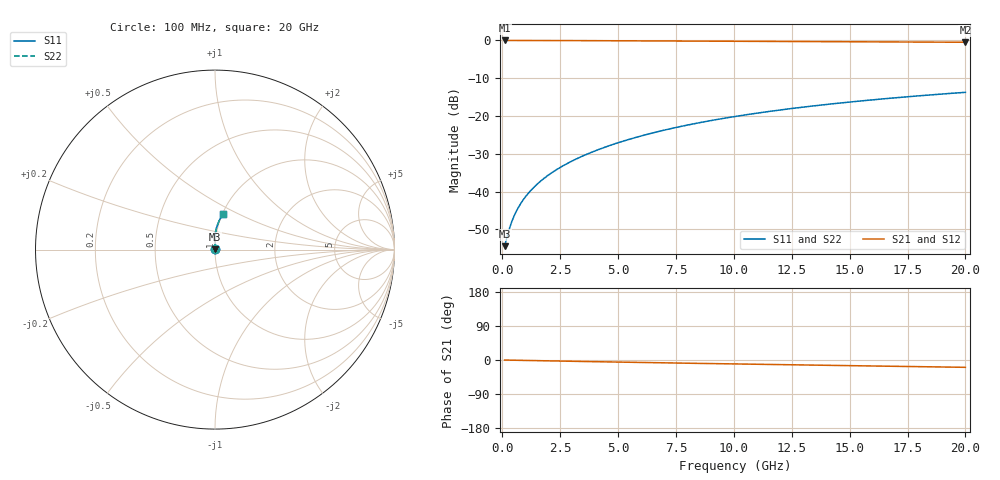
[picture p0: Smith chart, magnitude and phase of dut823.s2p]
! Touchstone file exported from HFSS 2024.1.0
!  File:  C:/UserFiles/LocalFiles/RDL_TSV_Batchsim/temp_RDL_bottom_823_1779862847.aedt
!  Generated:  02:23:41 PM May 27, 2026
!  Design:  RDL_bottom
!  Project:  temp_RDL_bottom_823_1779862847
!  Setup:  Setup1
!  Solution:  Sweep
! Variables:
!  dtsv = 10.80580581um
!  hbump = 3um
!  htsv = 81.91um
!  ldown = 225.51um
!  lrdl = 100um
!  p = 40
!  p1 = 59.29um
!  rhole = 1um
!  t = 450um
!  tdown = 2.21um
!  trdl = 3.915915916um
!  wdown = 29.32um
!  wrdl = 20um
# GHz S MA R 50.000000
! Terminal data exported
! Port[1] = RDL1_T1
! Port[2] = RDL1_T2
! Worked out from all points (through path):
!   200 points, 100 MHz to 20 GHz, reference 50 ohm
!   highest |S21| = -0.01 dB at 100 MHz (marker M1); lowest = -0.5 dB at 20 GHz (marker M2)
!   group delay of S21, straight-line fit = 2.65 ps
!   lowest |S11| = -54.4 dB at 100 MHz (marker M3), VSWR 1.00, Z = 50.2 + j0.0911 ohm
!   |S11| at or under -10 dB: start of sweep to end of sweep
!   |S22| runs from -54.4 to -13.7 dB; largest |S21 - S12| = 3.8e-15
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0.1  0.001897 28.6  0.9983 -0.1  0.9983 -0.1  0.001897 28.6
! Gamma 0 0 0 0
! Port Impedance 50 0 50 0
0.3  0.003191 56.4  0.9982 -0.4  0.9982 -0.4  0.003191 56.4
0.4  0.003936 62.4  0.9981 -0.5  0.9981 -0.5  0.003936 62.4
0.5  0.004692 66.6  0.998 -0.6  0.998 -0.6  0.004692 66.6
0.6  0.00545 69.7  0.9979 -0.7  0.9979 -0.7  0.00545 69.7
0.8  0.006978 74.2  0.9977 -0.9  0.9977 -0.9  0.006978 74.2
1  0.008526 77.3  0.9974 -1.2  0.9974 -1.2  0.008526 77.3
1.2  0.0101 79.6  0.9972 -1.4  0.9972 -1.4  0.0101 79.6
1.7  0.01413 83.6  0.9965 -1.9  0.9965 -1.9  0.01413 83.6
2.2  0.0183 86.1  0.9957 -2.5  0.9957 -2.5  0.0183 86.1
2.8  0.02349 88.1  0.9945 -3.2  0.9945 -3.2  0.02349 88.1
3.5  0.02981 89.6  0.9929 -3.9  0.9929 -3.9  0.02981 89.6
4.2  0.03641 90.5  0.9911 -4.7  0.9911 -4.7  0.03641 90.5
5  0.04427 91.0  0.9888 -5.5  0.9888 -5.5  0.04427 91.0
5.9  0.05347 91.1  0.9862 -6.4  0.9862 -6.4  0.05346 91.1
6.8  0.06295 90.9  0.9835 -7.3  0.9835 -7.3  0.06295 90.9
8.4  0.08031 89.8  0.9786 -8.9  0.9786 -8.9  0.0803 89.8
10.1  0.09909 88.2  0.9736 -10.5  0.9736 -10.5  0.09908 88.2
11.7  0.1168 86.5  0.9689 -11.9  0.9689 -11.9  0.1168 86.5
13.4  0.1356 84.5  0.964 -13.5  0.964 -13.5  0.1356 84.5
16.7  0.1712 80.8  0.9546 -16.4  0.9546 -16.4  0.1712 80.8
20  0.2057 77.2  0.945 -19.3  0.945 -19.3  0.2056 77.2
